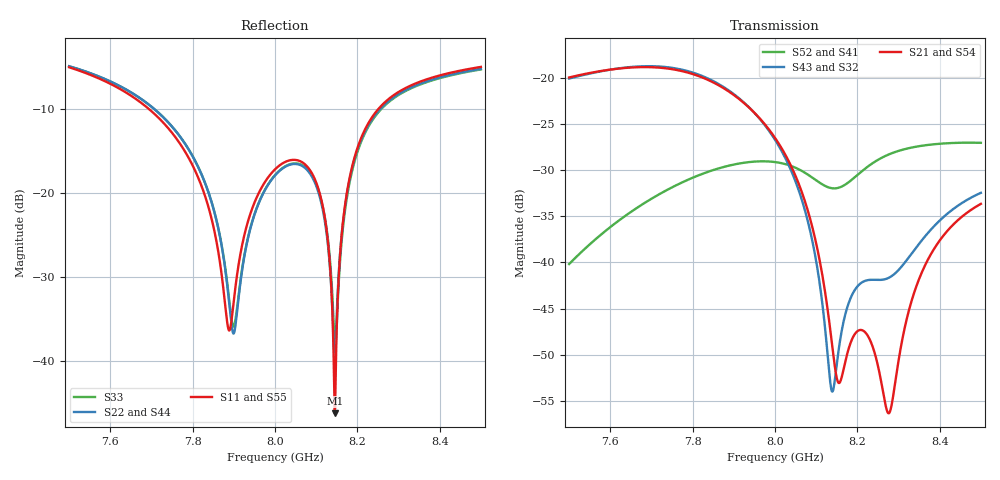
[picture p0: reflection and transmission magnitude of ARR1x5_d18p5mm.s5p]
! Touchstone file exported from HFSS 2025.1.0
!  File:  C:/Users/user/Documents/Ansoft/TFG_UWB-MIMO-Array.aedt
!  Generated:  09:03:16 PM Nov 21, 2026
!  Design:  ARR1x5_US3_PS4_2_1_dparam
!  Project:  TFG_UWB-MIMO-Array
!  Setup:  Setup_ch9
!  Solution:  Sweep_7p5_8p5
! Variables:
!  arr_d = 18.5mm
!  board_m = 13mm
!  board_x = 100mm
!  board_y = 26mm
!  cu_t = 0.035mm
!  line_w = 3.92mm
!  pad_xy = 22mm
!  pad_zn = 25mm
!  pad_zp = 33mm
!  par_L = 7.46mm
!  par_W = 10mm
!  par_yc = 0.75mm
!  par_z = 1.035mm
!  patch_L = 6.222mm
!  patch_W = 11.421266mm
!  sub_h = 2.07mm
!  tr_l = 6.6mm
!  tr_w = 0.8mm
!  u_Lu = 2.65mm
!  u_Wu = 4.4mm
!  u_t = 0.8mm
!  u_y0 = -0.7mm
# GHz S MA R 50.000000
! Terminal data exported
! Port[1] = P1
! Port[2] = P2
! Port[3] = P3
! Port[4] = P4
! Port[5] = P5
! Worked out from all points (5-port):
!   1001 points, 7.5 GHz to 8.5 GHz, reference 50 ohm
!   strongest paths, dB at 7.5 GHz, 7.75 GHz, 8 GHz, 8.25 GHz, 8.5 GHz:
!     S21: -19.9, -19.0, -26.5, -51.2, -33.6
!     S54: -19.9, -19.0, -26.5, -51.1, -33.6
!     S43: -20.1, -18.9, -26.7, -41.9, -32.4
!     S32: -20.1, -18.9, -26.7, -42.0, -32.4
!     S52: -40.2, -31.9, -29.1, -28.9, -27.0
!     S41: -40.2, -31.9, -29.1, -28.9, -27.0
!   lowest |S11| = -46.3 dB at 8.145 GHz (marker M1), VSWR 1.01, Z = 50.3 + j0.41 ohm
!   |S11| at or under -10 dB: 7.695 GHz to 8.25 GHz (555.6 MHz wide, 6.97 % of centre)
